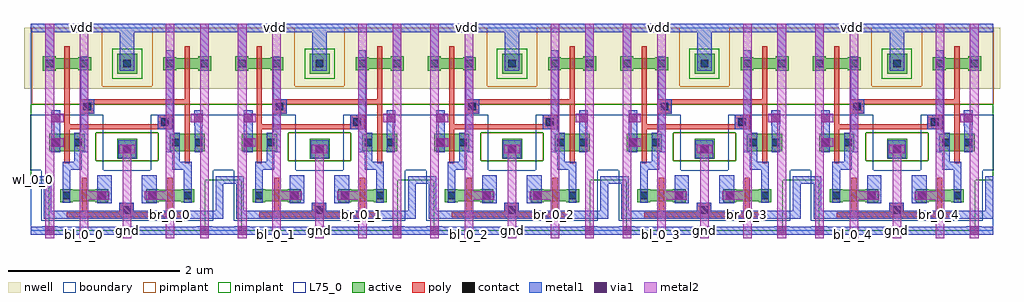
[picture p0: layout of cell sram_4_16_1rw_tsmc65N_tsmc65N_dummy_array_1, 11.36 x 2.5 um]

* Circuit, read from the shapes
.subckt sram_4_16_1rw_tsmc65N_tsmc65N_dummy_array_1 bl_0_0 bl_0_1 bl_0_2 bl_0_3 bl_0_4 br_0_0 br_0_1 br_0_2 br_0_3 br_0_4 gnd vdd wl_0_0
M1 n1 n2 gnd gnd nfet w=0.205u l=0.06u
M2 bl_0_0 wl_0_0 n1 gnd nfet w=0.135u l=0.06u
M3 n2 wl_0_0 br_0_0 gnd nfet w=0.135u l=0.06u
M4 gnd n1 n2 gnd nfet w=0.205u l=0.06u
M5 n3 n4 gnd gnd nfet w=0.205u l=0.06u
M6 bl_0_1 wl_0_0 n3 gnd nfet w=0.135u l=0.06u
M7 n4 wl_0_0 br_0_1 gnd nfet w=0.135u l=0.06u
M8 gnd n3 n4 gnd nfet w=0.205u l=0.06u
M9 n5 n6 gnd gnd nfet w=0.205u l=0.06u
M10 bl_0_2 wl_0_0 n5 gnd nfet w=0.135u l=0.06u
M11 n6 wl_0_0 br_0_2 gnd nfet w=0.135u l=0.06u
M12 gnd n5 n6 gnd nfet w=0.205u l=0.06u
M13 n7 n8 gnd gnd nfet w=0.205u l=0.06u
M14 bl_0_3 wl_0_0 n7 gnd nfet w=0.135u l=0.06u
M15 n8 wl_0_0 br_0_3 gnd nfet w=0.135u l=0.06u
M16 gnd n7 n8 gnd nfet w=0.205u l=0.06u
M17 n9 n10 gnd gnd nfet w=0.205u l=0.06u
M18 bl_0_4 wl_0_0 n9 gnd nfet w=0.135u l=0.06u
M19 n10 wl_0_0 br_0_4 gnd nfet w=0.135u l=0.06u
M20 gnd n9 n10 gnd nfet w=0.205u l=0.06u
M21 n1 n2 vdd vdd pfet w=0.12u l=0.06u
M22 vdd n1 n2 vdd pfet w=0.12u l=0.06u
M23 n3 n4 vdd vdd pfet w=0.12u l=0.06u
M24 vdd n3 n4 vdd pfet w=0.12u l=0.06u
M25 n5 n6 vdd vdd pfet w=0.12u l=0.06u
M26 vdd n5 n6 vdd pfet w=0.12u l=0.06u
M27 n7 n8 vdd vdd pfet w=0.12u l=0.06u
M28 vdd n7 n8 vdd pfet w=0.12u l=0.06u
M29 n9 n10 vdd vdd pfet w=0.12u l=0.06u
M30 vdd n9 n10 vdd pfet w=0.12u l=0.06u
.ends

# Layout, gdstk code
import gdstk
lib = gdstk.Library(unit=1e-6, precision=1e-09)
def R(c, l, rs):  # rectangles x0, y0, x1, y1
    for r in rs: c.add(gdstk.rectangle(r[:2], r[2:], *l))
def A(c, l, x, y, w, h, nx, ny, dx, dy):  # array of equal rectangles
    R(c, l, [(x+i*dx, y+j*dy, x+i*dx+w, y+j*dy+h) for i in range(nx) for j in range(ny)])
def P(c, l, *ps):  # polygons
    for p in ps: c.add(gdstk.Polygon(p, *l))
nwell = (3, 0)
active = (6, 0)
poly = (17, 0)
pimplant = (25, 0)
nimplant = (26, 0)
contact = (30, 0)
metal1 = (31, 0)
metal2 = (32, 0)
via1 = (51, 0)
L75_0 = (75, 0)
boundary = (108, 0)

dummy_cell_1rw = lib.new_cell('dummy_cell_1rw')
R(dummy_cell_1rw, nwell, [(-0.08,1.65,0.92,2.24), (0.885,1.65,1.355,2.24), (1.32,1.65,2.32,2.24), (0.885,1.71,1.355,2.18), (-0.08,2.24,2.32,2.36)])
A(dummy_cell_1rw, active, 0.55, 1.87, 0.15, 0.15, 3, 1, 0.495, 0)
R(dummy_cell_1rw, active, [(0.34,0.33,0.49,0.48), (0.75,0.33,0.9,0.48), (1.34,0.33,1.49,0.48), (1.75,0.33,1.9,0.48), (0.34,0.34,0.59,0.475), (0.59,0.34,0.65,0.475), (0.65,0.34,0.9,0.475), (1.34,0.34,1.59,0.475), (1.59,0.34,1.65,0.475), (1.65,0.34,1.9,0.475), (1.005,0.835,1.24,1.07), (1.035,0.865,1.205,1.035), (0.215,0.925,0.39,1.13), (0.39,0.925,0.45,1.13), (0.45,0.925,0.625,1.13), (1.615,0.925,1.79,1.13), (1.79,0.925,1.85,1.13), (1.85,0.925,2.025,1.13), (1.005,1.825,1.24,2.06), (0.14,1.86,0.29,1.87), (0.155,1.86,0.275,2.03), (1.95,1.86,2.1,1.87), (1.965,1.86,2.085,2.03), (0.14,1.87,0.29,2.02), (1.95,1.87,2.1,2.02), (0.14,1.885,0.39,2.005), (0.39,1.885,0.45,2.005), (0.45,1.885,0.7,2.005), (1.54,1.885,1.79,2.005), (1.79,1.885,1.85,2.005), (1.85,1.885,2.1,2.005), (0.14,2.02,0.29,2.03), (1.95,2.02,2.1,2.03)])
R(dummy_cell_1rw, poly, [(0.42,0.155,1.82,0.215), (1.03,0.155,1.2,0.325), (0.59,0.2,0.65,0.34), (1.59,0.2,1.65,0.34), (0.59,0.34,0.65,0.475), (1.59,0.34,1.65,0.475), (0.59,0.475,0.65,0.615), (1.59,0.475,1.65,0.615), (0.39,0.785,0.45,0.925), (1.79,0.785,1.85,0.925), (0.39,0.925,0.45,1.13), (1.79,0.925,1.85,1.13), (0.39,1.13,0.45,1.27), (1.79,1.13,1.85,1.27), (0.39,1.18,1.57,1.24), (1.475,1.18,1.645,1.35), (0.39,1.25,0.45,1.985), (1.79,1.27,1.85,1.985), (0.57,1.36,0.74,1.53), (1.79,1.425,1.85,1.485), (0.67,1.47,1.85,1.53), (0.39,1.745,0.45,1.885), (1.79,1.745,1.85,1.885), (0.39,1.885,0.45,2.005), (1.79,1.885,1.85,2.005), (0.39,2.005,0.45,2.145), (1.79,2.005,1.85,2.145)])
R(dummy_cell_1rw, pimplant, [(0.755,0.815,1.485,1.14), (1.015,0.845,1.225,1.055), (0.01,1.47,2.25,1.68), (0.01,1.545,0.83,2.345), (1.41,1.545,2.23,2.345), (2.23,1.545,2.25,2.345), (0.01,2.345,0.83,2.36), (1.41,2.345,2.25,2.36)])
R(dummy_cell_1rw, nimplant, [(0.21,0,1.03,0.815), (1.03,0,1.21,0.815), (1.21,0,2.03,0.815), (0,0.585,0.085,1.47), (0.085,0.585,0.755,1.47), (1.485,0.585,2.155,1.47), (2.155,0.585,2.24,1.47), (0.74,1.14,1.645,1.47), (0.945,1.77,1.295,2.12), (1.025,1.85,1.215,2.04), (1.025,1.85,1.215,2.04)])
A(dummy_cell_1rw, contact, 0.58, 1.9, 0.09, 0.09, 3, 1, 0.495, 0)
R(dummy_cell_1rw, contact, [(1.07,0.195,1.16,0.285), (0.37,0.365,0.46,0.455), (0.78,0.365,0.87,0.455), (1.37,0.365,1.46,0.455), (1.78,0.365,1.87,0.455), (1.075,0.905,1.165,0.995), (0.245,0.98,0.335,1.07), (0.505,0.98,0.595,1.07), (1.645,0.98,1.735,1.07), (1.905,0.98,1.995,1.07), (1.515,1.22,1.605,1.31), (0.61,1.4,0.7,1.49), (0.17,1.9,0.26,1.99), (0.17,1.9,0.26,1.99), (1.98,1.9,2.07,1.99), (1.98,1.9,2.07,1.99)])
A(dummy_cell_1rw, metal1, 0.13, -0.05, 0.18, 0.1, 3, 1, 0.9, 0)
R(dummy_cell_1rw, metal1, [(0,-0.045,0.09,0.045), (0,-0.045,2.24,0.045), (0,-0.045,2.24,0.045), (2.15,0.14,2.24,0.23), (1.03,0.155,1.2,0.325), (0.775,0.32,0.94,0.645), (0.775,0.32,0.875,0.5), (1.29,0.32,1.465,0.645), (1.365,0.32,1.465,0.5), (0.37,0.325,0.46,0.495), (0.78,0.325,0.87,0.495), (1.37,0.325,1.46,0.495), (1.78,0.325,1.87,0.495), (0,0.545,0.065,0.635), (0,0.545,0.065,0.635), (1.015,0.845,1.225,1.055), (1.07,0.86,1.17,1.04), (0.24,0.915,0.34,1.355), (0.245,0.915,0.335,1.14), (0.505,0.915,0.595,1.14), (0.58,0.915,0.67,2.01), (1.57,0.915,1.66,2.1), (1.645,0.915,1.735,1.14), (1.905,0.915,1.995,1.14), (0.24,0.935,0.34,1.115), (1.905,1.14,1.995,1.355), (1.475,1.18,1.645,1.35), (0.24,1.22,0.34,1.4), (1.9,1.22,2,1.4), (0.57,1.36,0.74,1.53), (0.17,1.86,0.26,2.03), (0.17,1.86,0.26,2.03), (0.17,1.86,0.27,2.41), (0.58,1.86,0.67,2.03), (1.035,1.86,1.205,2.03), (1.57,1.86,1.66,2.03), (1.98,1.86,2.07,2.03), (1.98,1.86,2.07,2.03), (1.035,1.97,1.205,2.41), (0,2.31,1.205,2.41), (0,2.31,1.205,2.41), (1.97,2.31,2.24,2.41), (0,2.315,0.09,2.405)])
P(dummy_cell_1rw, metal1, [(0.065,0.545),(0.15,0.545),(0.15,0.14),(2.24,0.14),(2.24,0.635),(2.15,0.635),(2.15,0.23),(0.24,0.23),(0.24,0.635),(0.065,0.635)],
  [(0.46,0.495),(0.46,0.71),(0.595,0.71),(0.595,0.915),(0.505,0.915),(0.505,0.8),(0.37,0.8),(0.37,0.495)],
  [(1.035,2.31),(1.97,2.31),(1.97,1.86),(2.07,1.86),(2.07,2.41),(1.035,2.41)],
  [(1.645,0.915),(1.645,0.71),(1.78,0.71),(1.78,0.495),(1.87,0.495),(1.87,0.8),(1.735,0.8),(1.735,0.915)])
A(dummy_cell_1rw, metal2, 0.17, -0.09, 0.1, 0.18, 3, 1, 0.9, 0)
R(dummy_cell_1rw, metal2, [(0.17,-0.09,0.27,2.41), (0.57,-0.09,0.67,0.01), (0.57,-0.09,0.67,0.01), (1.07,-0.09,1.17,0.91), (1.57,-0.09,1.67,0.01), (1.57,-0.09,1.67,0.46), (1.57,-0.09,1.67,0.46), (1.97,-0.09,2.07,1.075), (0.57,0.36,0.67,2.41), (0.735,0.36,0.915,0.46), (1.325,0.36,1.505,0.46), (1.07,0.85,1.17,0.91), (1.03,0.9,1.21,1), (0.2,0.975,0.38,1.075), (0.2,1.26,0.38,1.36), (1.86,1.26,2.04,1.36)])
P(dummy_cell_1rw, metal2, [(0.67,-0.09),(0.67,0.36),(0.825,0.36),(0.825,0.46),(0.57,0.46),(0.57,-0.09)],
  [(1.415,0.36),(1.67,0.36),(1.67,2.41),(1.57,2.41),(1.57,0.46),(1.415,0.46)],
  [(1.985,0.975),(2.07,0.975),(2.07,2.41),(1.97,2.41),(1.97,1.075),(1.985,1.075)])
A(dummy_cell_1rw, via1, 0.17, -0.05, 0.1, 0.1, 3, 1, 0.9, 0)
R(dummy_cell_1rw, via1, [(0.775,0.36,0.875,0.46), (1.365,0.36,1.465,0.46), (1.07,0.9,1.17,1), (0.24,0.975,0.34,1.075), (0.24,1.26,0.34,1.36), (1.9,1.26,2,1.36)])
R(dummy_cell_1rw, L75_0, [(0.12,0.115,1.12,0.705), (1.12,0.115,2.12,0.705), (-0.005,0.705,0.845,1.35), (1.395,0.705,2.245,1.35), (1.015,0.845,1.225,1.055)])
R(dummy_cell_1rw, boundary, [(0,0,2.24,2.36)])
dummy_cell_1rw.add(gdstk.Label('wl', (0.01,0.585), layer=31, texttype=0))
dummy_cell_1rw.add(gdstk.Label('gnd', (0.045,0), layer=31, texttype=0))
dummy_cell_1rw.add(gdstk.Label('vdd', (0.045,2.36), layer=31, texttype=0))
dummy_cell_1rw.add(gdstk.Label('[@instanceName]', (0.42,1.945), layer=127, texttype=0))
dummy_cell_1rw.add(gdstk.Label('pch\n0.12/0.06\n', (0.39,1.885), layer=127, texttype=0))
dummy_cell_1rw.add(gdstk.Label('D', (0.625,1.945), layer=127, texttype=0))
dummy_cell_1rw.add(gdstk.Label('S', (0.215,1.945), layer=127, texttype=0))
dummy_cell_1rw.add(gdstk.Label('[@instanceName]', (1.82,1.945), layer=127, texttype=0))
dummy_cell_1rw.add(gdstk.Label('pch\n0.12/0.06\n', (1.85,1.885), layer=127, texttype=0))
dummy_cell_1rw.add(gdstk.Label('D', (1.615,1.945), layer=127, texttype=0))
dummy_cell_1rw.add(gdstk.Label('S', (2.025,1.945), layer=127, texttype=0))
dummy_cell_1rw.add(gdstk.Label('[@instanceName]', (1.62,0.407), layer=127, texttype=0))
dummy_cell_1rw.add(gdstk.Label('nch\n0.135/0.06\n', (1.65,0.34), layer=127, texttype=0))
dummy_cell_1rw.add(gdstk.Label('D', (1.415,0.41), layer=127, texttype=0))
dummy_cell_1rw.add(gdstk.Label('S', (1.825,0.41), layer=127, texttype=0))
dummy_cell_1rw.add(gdstk.Label('[@instanceName]', (0.62,0.407), layer=127, texttype=0))
dummy_cell_1rw.add(gdstk.Label('nch\n0.135/0.06\n', (0.59,0.34), layer=127, texttype=0))
dummy_cell_1rw.add(gdstk.Label('D', (0.825,0.41), layer=127, texttype=0))
dummy_cell_1rw.add(gdstk.Label('S', (0.415,0.41), layer=127, texttype=0))
dummy_cell_1rw.add(gdstk.Label('[@instanceName]', (0.42,1.027), layer=127, texttype=0))
dummy_cell_1rw.add(gdstk.Label('nch\n0.205/0.06\n', (0.39,0.925), layer=127, texttype=0))
dummy_cell_1rw.add(gdstk.Label('D', (0.55,1.027), layer=127, texttype=0))
dummy_cell_1rw.add(gdstk.Label('S', (0.29,1.027), layer=127, texttype=0))
dummy_cell_1rw.add(gdstk.Label('[@instanceName]', (1.82,1.027), layer=127, texttype=0))
dummy_cell_1rw.add(gdstk.Label('nch\n0.205/0.06\n', (1.85,0.925), layer=127, texttype=0))
dummy_cell_1rw.add(gdstk.Label('D', (1.69,1.027), layer=127, texttype=0))
dummy_cell_1rw.add(gdstk.Label('S', (1.95,1.027), layer=127, texttype=0))
dummy_cell_1rw.add(gdstk.Label('& SerialNumber 000000', (0.39,1.885), layer=63, texttype=63))
dummy_cell_1rw.add(gdstk.Label('& Distributor TSMC', (0.39,1.885), layer=63, texttype=63))
dummy_cell_1rw.add(gdstk.Label('& Metric 1', (0.39,1.885), layer=63, texttype=63))
dummy_cell_1rw.add(gdstk.Label('& PDK Version "tsmcN65_DTQ::RWg\\177;oCnm~vw{v}v\\202_20120815"', (0.39,1.885), layer=63, texttype=63))
dummy_cell_1rw.add(gdstk.Label('& PDK TechNode "CRN65LP"', (0.39,1.885), layer=63, texttype=63))
dummy_cell_1rw.add(gdstk.Label('& Product    tsmcN65_PDK', (0.39,1.885), layer=63, texttype=63))
dummy_cell_1rw.add(gdstk.Label('& Vendor     Taiwan Semiconductor manufacturing Corp.', (0.39,1.885), layer=63, texttype=63))
dummy_cell_1rw.add(gdstk.Label('& SerialNumber 000000', (1.85,1.885), layer=63, texttype=63))
dummy_cell_1rw.add(gdstk.Label('& Distributor TSMC', (1.85,1.885), layer=63, texttype=63))
dummy_cell_1rw.add(gdstk.Label('& Metric 1', (1.85,1.885), layer=63, texttype=63))
dummy_cell_1rw.add(gdstk.Label('& PDK Version "tsmcN65_DTQ::RWg\\177;oCnm~vw{v}v\\202_20120815"', (1.85,1.885), layer=63, texttype=63))
dummy_cell_1rw.add(gdstk.Label('& PDK TechNode "CRN65LP"', (1.85,1.885), layer=63, texttype=63))
dummy_cell_1rw.add(gdstk.Label('& Product    tsmcN65_PDK', (1.85,1.885), layer=63, texttype=63))
dummy_cell_1rw.add(gdstk.Label('& Vendor     Taiwan Semiconductor manufacturing Corp.', (1.85,1.885), layer=63, texttype=63))
dummy_cell_1rw.add(gdstk.Label('& SerialNumber 000000', (1.65,0.34), layer=63, texttype=63))
dummy_cell_1rw.add(gdstk.Label('& Distributor TSMC', (1.65,0.34), layer=63, texttype=63))
dummy_cell_1rw.add(gdstk.Label('& Metric 1', (1.65,0.34), layer=63, texttype=63))
dummy_cell_1rw.add(gdstk.Label('& PDK Version "tsmcN65_DTQ::RWg\\177;oCnm~vw{v}v\\202_20120815"', (1.65,0.34), layer=63, texttype=63))
dummy_cell_1rw.add(gdstk.Label('& PDK TechNode "CRN65LP"', (1.65,0.34), layer=63, texttype=63))
dummy_cell_1rw.add(gdstk.Label('& Product    tsmcN65_PDK', (1.65,0.34), layer=63, texttype=63))
dummy_cell_1rw.add(gdstk.Label('& Vendor     Taiwan Semiconductor manufacturing Corp.', (1.65,0.34), layer=63, texttype=63))
dummy_cell_1rw.add(gdstk.Label('& SerialNumber 000000', (0.59,0.34), layer=63, texttype=63))
dummy_cell_1rw.add(gdstk.Label('& Distributor TSMC', (0.59,0.34), layer=63, texttype=63))
dummy_cell_1rw.add(gdstk.Label('& Metric 1', (0.59,0.34), layer=63, texttype=63))
dummy_cell_1rw.add(gdstk.Label('& PDK Version "tsmcN65_DTQ::RWg\\177;oCnm~vw{v}v\\202_20120815"', (0.59,0.34), layer=63, texttype=63))
dummy_cell_1rw.add(gdstk.Label('& PDK TechNode "CRN65LP"', (0.59,0.34), layer=63, texttype=63))
dummy_cell_1rw.add(gdstk.Label('& Product    tsmcN65_PDK', (0.59,0.34), layer=63, texttype=63))
dummy_cell_1rw.add(gdstk.Label('& Vendor     Taiwan Semiconductor manufacturing Corp.', (0.59,0.34), layer=63, texttype=63))
dummy_cell_1rw.add(gdstk.Label('& SerialNumber 000000', (0.39,0.925), layer=63, texttype=63))
dummy_cell_1rw.add(gdstk.Label('& Distributor TSMC', (0.39,0.925), layer=63, texttype=63))
dummy_cell_1rw.add(gdstk.Label('& Metric 1', (0.39,0.925), layer=63, texttype=63))
dummy_cell_1rw.add(gdstk.Label('& PDK Version "tsmcN65_DTQ::RWg\\177;oCnm~vw{v}v\\202_20120815"', (0.39,0.925), layer=63, texttype=63))
dummy_cell_1rw.add(gdstk.Label('& PDK TechNode "CRN65LP"', (0.39,0.925), layer=63, texttype=63))
dummy_cell_1rw.add(gdstk.Label('& Product    tsmcN65_PDK', (0.39,0.925), layer=63, texttype=63))
dummy_cell_1rw.add(gdstk.Label('& Vendor     Taiwan Semiconductor manufacturing Corp.', (0.39,0.925), layer=63, texttype=63))
dummy_cell_1rw.add(gdstk.Label('& SerialNumber 000000', (1.85,0.925), layer=63, texttype=63))
dummy_cell_1rw.add(gdstk.Label('& Distributor TSMC', (1.85,0.925), layer=63, texttype=63))
dummy_cell_1rw.add(gdstk.Label('& Metric 1', (1.85,0.925), layer=63, texttype=63))
dummy_cell_1rw.add(gdstk.Label('& PDK Version "tsmcN65_DTQ::RWg\\177;oCnm~vw{v}v\\202_20120815"', (1.85,0.925), layer=63, texttype=63))
dummy_cell_1rw.add(gdstk.Label('& PDK TechNode "CRN65LP"', (1.85,0.925), layer=63, texttype=63))
dummy_cell_1rw.add(gdstk.Label('& Product    tsmcN65_PDK', (1.85,0.925), layer=63, texttype=63))
dummy_cell_1rw.add(gdstk.Label('& Vendor     Taiwan Semiconductor manufacturing Corp.', (1.85,0.925), layer=63, texttype=63))
dummy_cell_1rw.add(gdstk.Label('bl', (0.62,-0.04), layer=32, texttype=0))
dummy_cell_1rw.add(gdstk.Label('br', (1.62,-0.04), layer=32, texttype=0))
dummy_cell_1rw.add(gdstk.Label('bl', (0.62,-0.04), layer=32, texttype=0))
dummy_cell_1rw.add(gdstk.Label('br', (1.62,0.185), layer=32, texttype=0))
dummy_cell_1rw.add(gdstk.Label('wl', (0.032,0.59), layer=31, texttype=0))
dummy_cell_1rw.add(gdstk.Label('vdd', (0.602,2.36), layer=31, texttype=0))
dummy_cell_1rw.add(gdstk.Label('gnd', (1.12,0), layer=31, texttype=0))

sram_4_16_1rw_tsmc65n_ts = lib.new_cell('sram_4_16_1rw_tsmc65N_tsmc65N_dummy_array_1')
A(sram_4_16_1rw_tsmc65n_ts, metal1, 0, -0.045, 2.24, 0.09, 5, 1, 2.24, 0)
A(sram_4_16_1rw_tsmc65n_ts, metal1, 0, 2.31, 1.205, 0.1, 5, 1, 2.24, 0)
R(sram_4_16_1rw_tsmc65n_ts, metal1, [(0,0.545,0.065,0.635)])
A(sram_4_16_1rw_tsmc65n_ts, metal2, 0.57, -0.09, 0.1, 0.1, 5, 1, 2.24, 0)
A(sram_4_16_1rw_tsmc65n_ts, metal2, 1.57, -0.09, 0.1, 0.55, 5, 1, 2.24, 0)
R(sram_4_16_1rw_tsmc65n_ts, boundary, [(0,0,11.2,2.36)])
sram_4_16_1rw_tsmc65n_ts.add(gdstk.Reference(dummy_cell_1rw, (0,0)))
sram_4_16_1rw_tsmc65n_ts.add(gdstk.Reference(dummy_cell_1rw, (2.24,0)))
sram_4_16_1rw_tsmc65n_ts.add(gdstk.Reference(dummy_cell_1rw, (4.48,0)))
sram_4_16_1rw_tsmc65n_ts.add(gdstk.Reference(dummy_cell_1rw, (6.72,0)))
sram_4_16_1rw_tsmc65n_ts.add(gdstk.Reference(dummy_cell_1rw, (8.96,0)))
sram_4_16_1rw_tsmc65n_ts.add(gdstk.Label('bl_0_0', (0.62,-0.04), layer=32, texttype=0))
sram_4_16_1rw_tsmc65n_ts.add(gdstk.Label('br_0_0', (1.62,0.185), layer=32, texttype=0))
sram_4_16_1rw_tsmc65n_ts.add(gdstk.Label('bl_0_1', (2.86,-0.04), layer=32, texttype=0))
sram_4_16_1rw_tsmc65n_ts.add(gdstk.Label('br_0_1', (3.86,0.185), layer=32, texttype=0))
sram_4_16_1rw_tsmc65n_ts.add(gdstk.Label('bl_0_2', (5.1,-0.04), layer=32, texttype=0))
sram_4_16_1rw_tsmc65n_ts.add(gdstk.Label('br_0_2', (6.1,0.185), layer=32, texttype=0))
sram_4_16_1rw_tsmc65n_ts.add(gdstk.Label('bl_0_3', (7.34,-0.04), layer=32, texttype=0))
sram_4_16_1rw_tsmc65n_ts.add(gdstk.Label('br_0_3', (8.34,0.185), layer=32, texttype=0))
sram_4_16_1rw_tsmc65n_ts.add(gdstk.Label('bl_0_4', (9.58,-0.04), layer=32, texttype=0))
sram_4_16_1rw_tsmc65n_ts.add(gdstk.Label('br_0_4', (10.58,0.185), layer=32, texttype=0))
sram_4_16_1rw_tsmc65n_ts.add(gdstk.Label('wl_0_0', (0.032,0.59), layer=31, texttype=0))
sram_4_16_1rw_tsmc65n_ts.add(gdstk.Label('vdd', (2.843,2.36), layer=31, texttype=0))
sram_4_16_1rw_tsmc65n_ts.add(gdstk.Label('vdd', (7.322,2.36), layer=31, texttype=0))
sram_4_16_1rw_tsmc65n_ts.add(gdstk.Label('vdd', (9.562,2.36), layer=31, texttype=0))
sram_4_16_1rw_tsmc65n_ts.add(gdstk.Label('vdd', (5.083,2.36), layer=31, texttype=0))
sram_4_16_1rw_tsmc65n_ts.add(gdstk.Label('vdd', (0.602,2.36), layer=31, texttype=0))
sram_4_16_1rw_tsmc65n_ts.add(gdstk.Label('gnd', (5.6,0), layer=31, texttype=0))
sram_4_16_1rw_tsmc65n_ts.add(gdstk.Label('gnd', (3.36,0), layer=31, texttype=0))
sram_4_16_1rw_tsmc65n_ts.add(gdstk.Label('gnd', (1.12,0), layer=31, texttype=0))
sram_4_16_1rw_tsmc65n_ts.add(gdstk.Label('gnd', (10.08,0), layer=31, texttype=0))
sram_4_16_1rw_tsmc65n_ts.add(gdstk.Label('gnd', (7.84,0), layer=31, texttype=0))

lib.write_gds('sram_4_16_1rw_tsmc65N_tsmc65N_dummy_array_1.gds')
